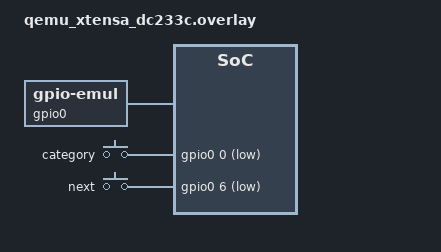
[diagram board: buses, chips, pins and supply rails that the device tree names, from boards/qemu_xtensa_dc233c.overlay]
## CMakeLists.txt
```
cmake_minimum_required(VERSION 3.20.0)

find_package(Zephyr REQUIRED HINTS $ENV{ZEPHYR_BASE})
project(cicala_soak LANGUAGES C CXX)

set(CICALA_APP ${CMAKE_CURRENT_SOURCE_DIR}/../../app)

add_subdirectory(${CMAKE_CURRENT_SOURCE_DIR}/../../lib/fsm cicala_fsm)
add_subdirectory(${CMAKE_CURRENT_SOURCE_DIR}/../../lib/app_fsm cicala_app_fsm)
add_subdirectory(${CMAKE_CURRENT_SOURCE_DIR}/../../lib/qdb cicala_qdb)
add_subdirectory(${CMAKE_CURRENT_SOURCE_DIR}/../../lib/layout cicala_layout)
add_subdirectory(${CMAKE_CURRENT_SOURCE_DIR}/../../lib/retained cicala_retained)

target_sources(app PRIVATE
    src/main.c
    ${CICALA_APP}/src/app.c
    ${CICALA_APP}/src/app_logic.cpp
    ${CICALA_APP}/src/channels.c
    ${CICALA_APP}/src/corpus.c
    ${CICALA_APP}/src/display.c
    ${CICALA_APP}/src/input.c
    ${CICALA_APP}/src/language.c
    ${CICALA_APP}/src/panel.cpp
    ${CICALA_APP}/src/retained_block.cpp
    ${CICALA_APP}/src/soak.c
)

target_include_directories(app PRIVATE ${CICALA_APP}/include)
target_link_libraries(app PRIVATE cicala_fsm cicala_app_fsm cicala_qdb cicala_layout cicala_retained)

set(fixtures ${CMAKE_CURRENT_SOURCE_DIR}/../fixtures)

foreach(lang en de)
  if(NOT EXISTS ${fixtures}/${lang}.qdb)
    message(FATAL_ERROR "missing ${fixtures}/${lang}.qdb — run `just fw-test`")
  endif()

  generate_inc_file_for_target(app
    ${fixtures}/${lang}.qdb
    ${ZEPHYR_BINARY_DIR}/include/generated/${lang}_qdb.inc)
endforeach()
```

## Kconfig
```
# Use the complete application policy.

mainmenu "cicala soak tests"

rsource "../../Kconfig.policy"

source "Kconfig.zephyr"
```

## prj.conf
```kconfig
CONFIG_ZTEST=y

CONFIG_CPP=y
CONFIG_STD_CPP17=y
CONFIG_CPP_EXCEPTIONS=n
CONFIG_CPP_RTTI=n

CONFIG_LOG=y
CONFIG_LOG_MODE_IMMEDIATE=y
CONFIG_ASSERT=y

CONFIG_GPIO=y
CONFIG_INPUT=y
CONFIG_INPUT_MODE_SYNCHRONOUS=y

CONFIG_ZBUS=y
CONFIG_ZBUS_CHANNEL_NAME=y
CONFIG_ZBUS_MSG_SUBSCRIBER=y
CONFIG_ZBUS_MSG_SUBSCRIBER_BUF_ALLOC_STATIC=y
CONFIG_ZBUS_MSG_SUBSCRIBER_NET_BUF_STATIC_DATA_SIZE=144
CONFIG_ZBUS_RUNTIME_OBSERVERS=n

CONFIG_DISPLAY=y
CONFIG_CHARACTER_FRAMEBUFFER=y

CONFIG_ENTROPY_GENERATOR=y
CONFIG_TEST_RANDOM_GENERATOR=y

CONFIG_HEAP_MEM_POOL_SIZE=8192
CONFIG_MAIN_STACK_SIZE=4096
CONFIG_ZTEST_STACK_SIZE=4096
CONFIG_SYSTEM_WORKQUEUE_STACK_SIZE=1536

CONFIG_CICALA_DEBUG_SOAK=y
CONFIG_CICALA_DEBUG_SOAK_INTERVAL_MS=50

CONFIG_CICALA_FULL_REFRESH_INTERVAL=65535
```

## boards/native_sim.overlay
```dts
#include <zephyr/dt-bindings/input/input-event-codes.h>

/ {
    aliases {
        cicala-category = &cicala_category;
        cicala-next = &cicala_next;
    };

    cicala_buttons: cicala-buttons {
        compatible = "gpio-keys";
        debounce-interval-ms = <30>;
        cicala_category: category { gpios = <&gpio0 0 GPIO_ACTIVE_LOW>; zephyr,code = <INPUT_KEY_MENU>; label = "category"; };
        cicala_next: next { gpios = <&gpio0 6 GPIO_ACTIVE_LOW>; zephyr,code = <INPUT_KEY_ENTER>; label = "next"; };
    };

    cicala_dummy: dummy_dc {
        compatible = "zephyr,dummy-dc";
        width = <250>;
        height = <122>;
        status = "okay";
    };

    chosen {
        zephyr,display = &cicala_dummy;
    };

};

&sdl_dc {
    status = "disabled";
};
```

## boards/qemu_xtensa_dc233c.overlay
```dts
#include <zephyr/dt-bindings/gpio/gpio.h>
#include <zephyr/dt-bindings/input/input-event-codes.h>

/ {
    aliases {
        cicala-category = &cicala_category;
        cicala-next = &cicala_next;
    };

    gpio0: gpio_emul {
        compatible = "zephyr,gpio-emul";
        gpio-controller;
        #gpio-cells = <2>;
        ngpios = <32>;
        rising-edge;
        falling-edge;
        high-level;
        low-level;
    };

    cicala_buttons: cicala-buttons {
        compatible = "gpio-keys";
        debounce-interval-ms = <30>;
        cicala_category: category { gpios = <&gpio0 0 GPIO_ACTIVE_LOW>; zephyr,code = <INPUT_KEY_MENU>; label = "category"; };
        cicala_next: next { gpios = <&gpio0 6 GPIO_ACTIVE_LOW>; zephyr,code = <INPUT_KEY_ENTER>; label = "next"; };
    };

    cicala_dummy: dummy_dc {
        compatible = "zephyr,dummy-dc";
        width = <250>;
        height = <122>;
        status = "okay";
    };

    chosen {
        zephyr,display = &cicala_dummy;
    };
};
```

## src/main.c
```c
#include <zephyr/drivers/gpio.h>
#include <zephyr/drivers/gpio/gpio_emul.h>
#include <zephyr/kernel.h>
#include <zephyr/ztest.h>

#include "channels.h"
#include "input.h"

static const struct gpio_dt_spec next_button = GPIO_DT_SPEC_GET(DT_ALIAS(cicala_next), gpios);

#define RUN_WAIT K_MSEC(10 * CONFIG_CICALA_DEBUG_SOAK_INTERVAL_MS + 1000)

#define EXPECTED_RENDERS 6

static uint32_t questions;
static uint32_t renders;
static uint32_t full_renders;
static uint32_t failed_renders;
static uint32_t last_seq;
static bool seq_repeated;

static void observe(const struct zbus_channel *chan)
{
    if (chan == &chan_question) {
        const struct cicala_question_msg *msg = zbus_chan_const_msg(chan);

        if (msg->seq <= last_seq) {
            seq_repeated = true;
        }

        last_seq = msg->seq;
        questions++;
    } else if (chan == &chan_render) {
        const struct cicala_render_msg *msg = zbus_chan_const_msg(chan);

        renders++;

        if (msg->was_full) {
            full_renders++;
        }

        if (msg->result != 0) {
            failed_renders++;
        }
    }
}

ZBUS_LISTENER_DEFINE(test_obs, observe);
ZBUS_CHAN_ADD_OBS(chan_question, test_obs, 4);
ZBUS_CHAN_ADD_OBS(chan_render, test_obs, 4);

static void *suite_setup(void)
{
    zassert_ok(gpio_emul_input_set(next_button.port, next_button.pin, 1));
    k_sleep(K_MSEC(100));

    zassert_ok(cicala_input_init());

    return NULL;
}

ZTEST_SUITE(cicala_soak, NULL, suite_setup, NULL, NULL, NULL);

ZTEST(cicala_soak, test_the_chain_runs_hands_off)
{
    k_sleep(RUN_WAIT);

    zassert_true(renders >= EXPECTED_RENDERS,
                 "the chain stopped after %u refreshes; the soak run needs it to keep pressing",
                 renders);
    zassert_true(questions >= renders, "a render arrived for a question nobody published");
    zassert_false(seq_repeated, "each press must draw a new card, not redraw the last one");
    zassert_equal(failed_renders, 0, "no refresh should have failed");

    zassert_equal(full_renders, 1,
                  "soak.conf should have suppressed every full refresh but the "
                  "first, and %u came through",
                  full_renders);
}
```
